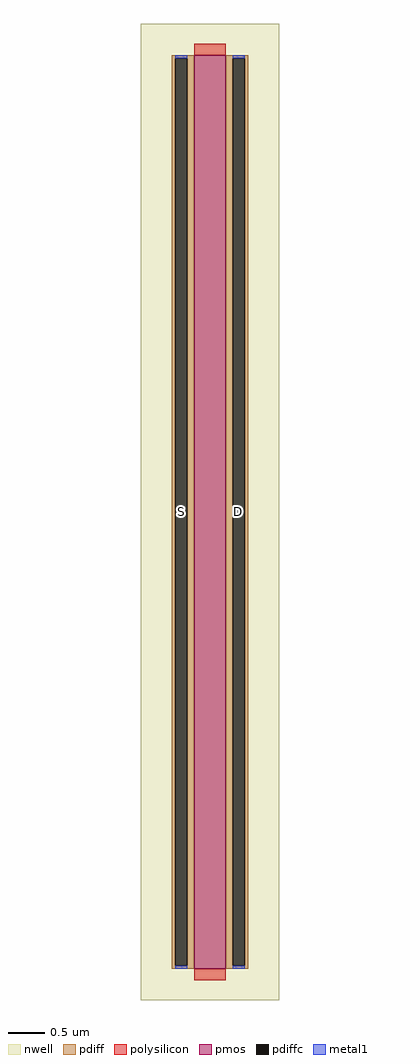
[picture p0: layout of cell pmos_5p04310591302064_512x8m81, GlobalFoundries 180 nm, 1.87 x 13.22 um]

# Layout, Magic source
magic
tech gf180mcuD
magscale 1 10
<< nwell >>
rect -145 -84 229 2560
<< pmos >>
rect 0 0 84 2476
<< pdiff >>
rect -61 2467 0 2476
rect -61 9 -52 2467
rect -20 9 0 2467
rect -61 0 0 9
rect 84 2467 145 2476
rect 84 9 104 2467
rect 136 9 145 2467
rect 84 0 145 9
<< pdiffc >>
rect -52 9 -20 2467
rect 104 9 136 2467
<< polysilicon >>
rect 0 2476 84 2507
rect 0 -30 84 0
<< metal1 >>
rect -52 2467 -20 2476
rect -52 0 -20 9
rect 104 2467 136 2476
rect 104 0 136 9
<< labels >>
flabel pdiffc -36 1238 -36 1238 0 FreeSans 280 0 0 0 S
flabel pdiffc 120 1238 120 1238 0 FreeSans 280 0 0 0 D
<< end >>
